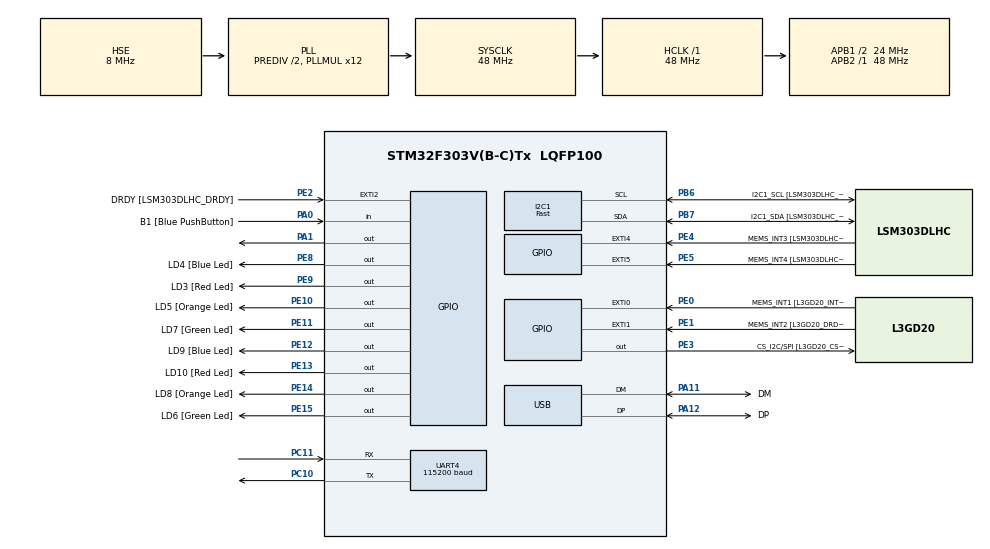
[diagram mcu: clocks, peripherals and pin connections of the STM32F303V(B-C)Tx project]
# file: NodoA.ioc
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I2C1.I2C_Speed_Mode=I2C_Fast
I2C1.Timing=0x0000020B
I2C1.Timing-I2C=0x2000090E
Mcu.Family=STM32F3
Mcu.Name=STM32F303V(B-C)Tx
Mcu.Package=LQFP100
NVIC.PriorityGroup=NVIC_PRIORITYGROUP_0
NVIC.TIM6_DAC_IRQn=true\:0\:0\:false\:false\:true\:true\:true\:true
NVIC.UART4_IRQn=true\:0\:0\:false\:false\:true\:true\:true\:true
PA0.GPIO_Label=B1 [Blue PushButton]
PA0.Signal=GPIO_Input
PA1.Signal=GPIO_Output
PA11.GPIO_Label=DM
PA11.Mode=Device
PA11.Signal=USB_DM
PA12.GPIO_Label=DP
PA12.Mode=Device
PA12.Signal=USB_DP
PA13.GPIO_Label=SWDIO
PA13.Mode=Serial_Wire
PA13.Signal=SYS_JTMS-SWDIO
PA14.GPIO_Label=SWCLK
PA14.Mode=Serial_Wire
PA14.Signal=SYS_JTCK-SWCLK
PA5.GPIO_Label=SPI1_SCK [L3GD20_SCL/SPC]
PA5.Signal=SPI1_SCK
PA6.GPIO_Label=SPI1_MISO [L3GD20_SA0/SDO]
PA6.Signal=SPI1_MISO
PA7.GPIO_Label=SPI1_MISO [L3GD20_SDA/SDI/SDO]
PA7.Signal=SPI1_MOSI
PB3.GPIO_Label=SWO
PB3.Signal=SYS_JTDO-TRACESWO
PB6.GPIO_Label=I2C1_SCL [LSM303DLHC_SCL]
PB6.GPIO_Pu=GPIO_PULLUP
PB6.Mode=I2C
PB6.Signal=I2C1_SCL
PB7.GPIO_Label=I2C1_SDA [LSM303DLHC_SDA]
PB7.GPIO_Pu=GPIO_PULLUP
PB7.Mode=I2C
PB7.Signal=I2C1_SDA
PC10.Mode=Asynchronous
PC10.Signal=UART4_TX
PC11.Mode=Asynchronous
PC11.Signal=UART4_RX
PC14-OSC32_IN.GPIO_Label=OSC32_IN
PC14-OSC32_IN.Signal=RCC_OSC32_IN
PC15-OSC32_OUT.GPIO_Label=OSC32_OUT
PC15-OSC32_OUT.Signal=RCC_OSC32_OUT
PE0.GPIO_Label=MEMS_INT1 [L3GD20_INT1]
PE0.GPIO_ModeDefaultEXTI=GPIO_MODE_EVT_RISING
PE0.Signal=GPXTI0
PE1.GPIO_Label=MEMS_INT2 [L3GD20_DRDY/INT2]
PE1.GPIO_ModeDefaultEXTI=GPIO_MODE_EVT_RISING
PE1.Signal=GPXTI1
PE10.GPIO_Label=LD5 [Orange Led]
PE10.Signal=GPIO_Output
PE11.GPIO_Label=LD7 [Green Led]
PE11.Signal=GPIO_Output
PE12.GPIO_Label=LD9 [Blue Led]
PE12.Signal=GPIO_Output
PE13.GPIO_Label=LD10 [Red Led]
PE13.Signal=GPIO_Output
PE14.GPIO_Label=LD8 [Orange Led]
PE14.Signal=GPIO_Output
PE15.GPIO_Label=LD6 [Green Led]
PE15.Signal=GPIO_Output
PE2.GPIO_Label=DRDY [LSM303DLHC_DRDY]
PE2.GPIO_ModeDefaultEXTI=GPIO_MODE_EVT_RISING
PE2.Signal=GPXTI2
PE3.GPIO_Label=CS_I2C/SPI [L3GD20_CS_I2C/SPI]
PE3.Signal=GPIO_Output
PE4.GPIO_Label=MEMS_INT3 [LSM303DLHC_INT1]
PE4.GPIO_ModeDefaultEXTI=GPIO_MODE_EVT_RISING
PE4.Signal=GPXTI4
PE5.GPIO_Label=MEMS_INT4 [LSM303DLHC_INT2]
PE5.GPIO_ModeDefaultEXTI=GPIO_MODE_EVT_RISING
PE5.Signal=GPXTI5
PE8.GPIO_Label=LD4 [Blue Led]
PE8.Signal=GPIO_Output
PE9.GPIO_Label=LD3 [Red Led]
PE9.Signal=GPIO_Output
PF0-OSC_IN.GPIO_Label=OSC_IN
PF0-OSC_IN.Mode=HSE-External-Oscillator
PF0-OSC_IN.Signal=RCC_OSC_IN
PF1-OSC_OUT.GPIO_Label=OSC_OUT
PF1-OSC_OUT.Mode=HSE-External-Oscillator
PF1-OSC_OUT.Signal=RCC_OSC_OUT
ProjectManager.HeapSize=0x200
ProjectManager.StackSize=0x400
ProjectManager.TargetToolchain=STM32CubeIDE
RCC.AHBFreq_Value=48000000
RCC.APB1CLKDivider=RCC_HCLK_DIV2
RCC.APB1Freq_Value=24000000
RCC.APB1TimFreq_Value=48000000
RCC.APB2Freq_Value=48000000
RCC.APB2TimFreq_Value=48000000
RCC.CortexFreq_Value=48000000
RCC.HCLKFreq_Value=48000000
RCC.HSE_VALUE=8000000
RCC.HSI_VALUE=8000000
RCC.LSE_VALUE=32768
RCC.PLLMUL=RCC_PLL_MUL12
RCC.RCC_PLLsource_Clock_Source_FROM_HSE=RCC_HSE_PREDIV_DIV2
RCC.SYSCLKFreq_VALUE=48000000
RCC.SYSCLKSourceVirtual=RCC_SYSCLKSOURCE_PLLCLK
RCC.USBFreq_Value=48000000
TIM6.Prescaler=48-1
UART4.BaudRate=115200
VP_TIM6_VS_ClockSourceINT.Mode=Enable_Timer
board=STM32F3DISCOVERY

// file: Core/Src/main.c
/* USER CODE BEGIN Header */
/**
  ******************************************************************************
  * @file           : main.c
  * @brief          : Main program body
  ******************************************************************************
  * @attention
  *
  * Copyright (c) 2022 STMicroelectronics.
  * All rights reserved.
  *
  * This software is licensed under terms that can be found in the LICENSE file
  * in the root directory of this software component.
  * If no LICENSE file comes with this software, it is provided AS-IS.
  *
  ******************************************************************************
  */
/* USER CODE END Header */
#include "main.h"

/* USER CODE BEGIN Includes */
#include "fonts.h"
#include "ssd1306.h"
#include "stdio.h"
/* USER CODE END Includes */

/* USER CODE BEGIN PD */
#define BUFFER_LEN 1
#define DHT11_PORT GPIOA
#define DHT11_PIN GPIO_PIN_1
/* USER CODE END PD */

 I2C_HandleTypeDef hi2c1;

TIM_HandleTypeDef htim6;

UART_HandleTypeDef huart4;

PCD_HandleTypeDef hpcd_USB_FS;

/* USER CODE BEGIN PV */

// VARIABILI UTILI PER LA RILEVAZIONE DELLA TEMPERATURA
uint8_t RHI, RHD, TCI, TCD;
uint32_t pMillis, cMillis;
float tCelsius = 0;
float tFahrenheit = 0;
uint16_t SUM, RH, TEMP;
float Temperature = 0;
float Humidity = 0;
uint8_t Presence = 0;
char strCopy[20];

// VARIABILI UTILI PER LA TRASMISSIONE UART
uint8_t RX_BUFFER[BUFFER_LEN] = {0};
uint8_t TX_BUFFER[BUFFER_LEN] = {0};
int acqua = 0;

/* USER CODE END PV */

void SystemClock_Config(void);
static void MX_GPIO_Init(void);
static void MX_I2C1_Init(void);
static void MX_USB_PCD_Init(void);
static void MX_TIM6_Init(void);
static void MX_UART4_Init(void);

/* USER CODE BEGIN 0 */
void delay (uint16_t time)
{
	/* change your code here for the delay in microseconds */
	__HAL_TIM_SET_COUNTER(&htim6, 0);
	while ((__HAL_TIM_GET_COUNTER(&htim6))<time);
}

void Set_Pin_Output (GPIO_TypeDef *GPIOx, uint16_t GPIO_Pin)
{
	GPIO_InitTypeDef GPIO_InitStruct = {0};
	GPIO_InitStruct.Pin = GPIO_Pin;
	GPIO_InitStruct.Mode = GPIO_MODE_OUTPUT_PP;
	GPIO_InitStruct.Speed = GPIO_SPEED_FREQ_LOW;
	HAL_GPIO_Init(GPIOx, &GPIO_InitStruct);
}

void Set_Pin_Input (GPIO_TypeDef *GPIOx, uint16_t GPIO_Pin)
{
	GPIO_InitTypeDef GPIO_InitStruct = {0};
	GPIO_InitStruct.Pin = GPIO_Pin;
	GPIO_InitStruct.Mode = GPIO_MODE_INPUT;
	GPIO_InitStruct.Pull = GPIO_PULLUP;
	HAL_GPIO_Init(GPIOx, &GPIO_InitStruct);
}

/*********************************** DHT11 FUNCTIONS ********************************************/

uint8_t DHT11_Start (void)
{
  uint8_t Response = 0;
  Set_Pin_Output(DHT11_PORT, DHT11_PIN);
  //Inizializzazione della temperatura (Segui il timing scheme)
  HAL_GPIO_WritePin (DHT11_PORT, DHT11_PIN, 0);   // pull the pin low
  delay(18000); //for 18ms
  HAL_GPIO_WritePin (DHT11_PORT, DHT11_PIN, 1);   // pull the pin high
  delay(20);   // wait for 20-30us
  Set_Pin_Input(DHT11_PORT, DHT11_PIN);
  delay(40);
  //presenza del sensore (Check response)
  if (!(HAL_GPIO_ReadPin (DHT11_PORT, DHT11_PIN)))
  {
    delay(80);
    if ((HAL_GPIO_ReadPin (DHT11_PORT, DHT11_PIN))) Response = 1;
    else Response = -1; //255
  }

  pMillis = HAL_GetTick();
  cMillis = HAL_GetTick();
  while ((HAL_GPIO_ReadPin (DHT11_PORT, DHT11_PIN)) && pMillis + 2 > cMillis)
  {
    cMillis = HAL_GetTick();
  }

  return Response;
}

//funzione per leggere i dati dal sensore (Segui anche qui il Timing Scheme del DHT11)
uint8_t DHT11_Read (void)
{
  uint8_t a,b;
  for (a=0;a<8;a++)
  {
    pMillis = HAL_GetTick();
    cMillis = HAL_GetTick();
    while (!(HAL_GPIO_ReadPin (DHT11_PORT, DHT11_PIN)) && pMillis + 2 > cMillis)
    {  // wait for the pin to go high
      cMillis = HAL_GetTick();
    }
    delay(40);  // wait for 40 us
    if (!(HAL_GPIO_ReadPin (DHT11_PORT, DHT11_PIN)))   // if the pin is low
      b&= ~(1<<(7-a));
    else
      b|= (1<<(7-a));
    pMillis = HAL_GetTick();
    cMillis = HAL_GetTick();
    while ((HAL_GPIO_ReadPin (DHT11_PORT, DHT11_PIN)) && pMillis + 2 > cMillis)
    {  // wait for the pin to go low
      cMillis = HAL_GetTick();
    }
  }
  return b;
}

/***************END DHT11 FUNCTIONS***********************************************/

/***********UART FUNCTIONS***************************************************/

uint8_t receive_data_UART(){
	HAL_UART_Receive_IT(&huart4, RX_BUFFER, BUFFER_LEN);
	return RX_BUFFER[0];
}

void HAL_UART_RxCpltCallback(UART_HandleTypeDef* huart)
{
	HAL_GPIO_TogglePin(GPIOE, GPIO_PIN_11);
	if(huart->Instance == huart4.Instance){
		uint8_t data = receive_data_UART();
	if (data == 1){
		acqua = 1;
	} else {
		acqua = 0;
	}
	}
}

/*******************************END UART FUNCTIONS******************/
/* USER CODE END 0 */

int main(void)
{

  /* MCU Configuration--------------------------------------------------------*/

  /* Reset of all peripherals, Initializes the Flash interface and the Systick. */
  HAL_Init();

  /* Configure the system clock */
  SystemClock_Config();

  /* Initialize all configured peripherals */
  MX_GPIO_Init();
  MX_I2C1_Init();
  MX_USB_PCD_Init();
  MX_TIM6_Init();
  MX_UART4_Init();
  /* USER CODE BEGIN 2 */
  /*******************DISPLAY INIT*****************************/
  HAL_TIM_Base_Start(&htim6);

  SSD1306_Init();
  SSD1306_DrawRectangle(15,9,95,48,1);
  SSD1306_GotoXY(49,7);
  SSD1306_Puts("AIR", &Font_11x18, 1);
  SSD1306_GotoXY (10, 30);
  SSD1306_Puts ("HUMIDIFIER", &Font_11x18, 1);
  SSD1306_UpdateScreen(); //display

  HAL_Delay(5000);

  SSD1306_Clear();

  /*******************UART INIT*****************************/
  HAL_UART_Receive_IT(&huart4, RX_BUFFER, BUFFER_LEN);
  /* USER CODE END 2 */

  /* Infinite loop */
  /* USER CODE BEGIN WHILE */
  int i=0;
  while (1)
  {

	  if(DHT11_Start())
	  {
		  RHI = DHT11_Read(); // Relative humidity integral
		  RHD = DHT11_Read(); // Relative humidity decimal
		  TCI = DHT11_Read(); // Celsius integral
		  TCD = DHT11_Read(); // Celsius decimal
		  SUM = DHT11_Read(); // Check sum
		  if (RHI + RHD + TCI + TCD == SUM)
		  {
			  // TEMPERATURA IN GRADI CELSIUS
			  tCelsius = (float)TCI + (float)(TCD/10.0);

			  // TEMPERATURA IN GRADI FAHRENHEIT
			  //tFahrenheit = tCelsius * 9/5 + 32;

			  // UMIDITA' IN PERCENTUALE
			  RH = (float)RHI + (float)(RHD/10.0);
		  }

		  if (tCelsius > 23 && (RH < 60))
		  {
			  /* ACCENDI UMIDIFICATORE
			   * Temperature > 23° --> Humidity 30%-60%
			   */
			  HAL_GPIO_WritePin(GPIOE, GPIO_PIN_8, GPIO_PIN_RESET); //BLU
			  HAL_GPIO_WritePin(GPIOE, GPIO_PIN_9, GPIO_PIN_SET); //ROSSO
			  HAL_GPIO_WritePin(GPIOE, GPIO_PIN_10, GPIO_PIN_RESET); //ARANCIONE
			  TX_BUFFER[0] = 1;
			  HAL_UART_Transmit_IT(&huart4, TX_BUFFER, sizeof(TX_BUFFER));

		  }
		  else if ((tCelsius <= 23 && tCelsius >= 18) && (RH < 55))
		  {
			  /* ACCENDI UMIDIFICATORE
			   * Temperature 18°-23° --> Humidity 30%-55%
			   */
			  HAL_GPIO_WritePin(GPIOE, GPIO_PIN_8, GPIO_PIN_SET);
			  HAL_GPIO_WritePin(GPIOE, GPIO_PIN_9, GPIO_PIN_RESET);
			  HAL_GPIO_WritePin(GPIOE, GPIO_PIN_10, GPIO_PIN_RESET);
			  TX_BUFFER[0] = 1;
			  HAL_UART_Transmit_IT(&huart4, TX_BUFFER, sizeof(TX_BUFFER));
		  }
		  else if (tCelsius < 18 && (RH < 50))
		  {
			  /* ACCENDI UMIDIFICATORE
			   * Temperature < 18° --> Humidity 30%-50%
			   */
			  HAL_GPIO_WritePin(GPIOE, GPIO_PIN_8, GPIO_PIN_RESET);
			  HAL_GPIO_WritePin(GPIOE, GPIO_PIN_9, GPIO_PIN_RESET);
			  HAL_GPIO_WritePin(GPIOE, GPIO_PIN_10, GPIO_PIN_SET);
			  TX_BUFFER[0] = 1;
			  HAL_UART_Transmit_IT(&huart4, TX_BUFFER, sizeof(TX_BUFFER));
		  }
		  else
		  {
			  HAL_GPIO_WritePin(GPIOE, GPIO_PIN_8, GPIO_PIN_RESET);
			  HAL_GPIO_WritePin(GPIOE, GPIO_PIN_9, GPIO_PIN_RESET);
			  HAL_GPIO_WritePin(GPIOE, GPIO_PIN_10, GPIO_PIN_SET);
			  TX_BUFFER[0] = 0;
			  HAL_UART_Transmit_IT(&huart4, TX_BUFFER, sizeof(TX_BUFFER));
		  }

		  if (i!=0)
		  {
			  i=0;
			  SSD1306_Clear();
		  }

		  sprintf(strCopy,"Temperature");
		  SSD1306_GotoXY (2, 0);
		  SSD1306_Puts (strCopy, &Font_7x10, 1);
		  sprintf(strCopy,"%d C   ",TCI);
		  SSD1306_GotoXY (2, 10);
		  SSD1306_Puts (strCopy, &Font_11x18, 1);
		  sprintf(strCopy,"Humidity");
		  SSD1306_GotoXY (2, 30);
		  SSD1306_Puts (strCopy, &Font_7x10, 1);
		  sprintf(strCopy,"%d. %% ", RHI);
		  SSD1306_GotoXY (2, 40);
		  SSD1306_Puts (strCopy, &Font_11x18, 1);
		  SSD1306_UpdateScreen();

		  while(acqua == 0) //Finchè l'acqua non è sufficiente, messaggio 'aggiungi acqua'
		  {
			  if(i == 0){
				  SSD1306_Clear();
			  }
			  SSD1306_GotoXY (30,5);
			  SSD1306_Puts ("ATTENZIONE", &Font_7x10, 1);
			  SSD1306_GotoXY (10,15);
			  SSD1306_Puts ("AGGIUNGI ACQUA", &Font_7x10, 1);
			  SSD1306_UpdateScreen();

			  //SPEGNI NEBULIZZATORE
			  TX_BUFFER[0] = 0;
			  HAL_UART_Transmit_IT(&huart4, TX_BUFFER, sizeof(TX_BUFFER));

			  i++;
		  }
	  }

	  HAL_Delay(2000);

    /* USER CODE END WHILE */

  }
}

void SystemClock_Config(void)
{
  RCC_OscInitTypeDef RCC_OscInitStruct = {0};
  RCC_ClkInitTypeDef RCC_ClkInitStruct = {0};
  RCC_PeriphCLKInitTypeDef PeriphClkInit = {0};

  /** Initializes the RCC Oscillators according to the specified parameters
  * in the RCC_OscInitTypeDef structure.
  */
  RCC_OscInitStruct.OscillatorType = RCC_OSCILLATORTYPE_HSI|RCC_OSCILLATORTYPE_HSE;
  RCC_OscInitStruct.HSEState = RCC_HSE_ON;
  RCC_OscInitStruct.HSEPredivValue = RCC_HSE_PREDIV_DIV2;
  RCC_OscInitStruct.HSIState = RCC_HSI_ON;
  RCC_OscInitStruct.HSICalibrationValue = RCC_HSICALIBRATION_DEFAULT;
  RCC_OscInitStruct.PLL.PLLState = RCC_PLL_ON;
  RCC_OscInitStruct.PLL.PLLSource = RCC_PLLSOURCE_HSE;
  RCC_OscInitStruct.PLL.PLLMUL = RCC_PLL_MUL12;
  if (HAL_RCC_OscConfig(&RCC_OscInitStruct) != HAL_OK)
  {
    Error_Handler();
  }

  /** Initializes the CPU, AHB and APB buses clocks
  */
  RCC_ClkInitStruct.ClockType = RCC_CLOCKTYPE_HCLK|RCC_CLOCKTYPE_SYSCLK
                              |RCC_CLOCKTYPE_PCLK1|RCC_CLOCKTYPE_PCLK2;
  RCC_ClkInitStruct.SYSCLKSource = RCC_SYSCLKSOURCE_PLLCLK;
  RCC_ClkInitStruct.AHBCLKDivider = RCC_SYSCLK_DIV1;
  RCC_ClkInitStruct.APB1CLKDivider = RCC_HCLK_DIV2;
  RCC_ClkInitStruct.APB2CLKDivider = RCC_HCLK_DIV1;

  if (HAL_RCC_ClockConfig(&RCC_ClkInitStruct, FLASH_LATENCY_1) != HAL_OK)
  {
    Error_Handler();
  }
  PeriphClkInit.PeriphClockSelection = RCC_PERIPHCLK_USB|RCC_PERIPHCLK_UART4
                              |RCC_PERIPHCLK_I2C1;
  PeriphClkInit.Uart4ClockSelection = RCC_UART4CLKSOURCE_PCLK1;
  PeriphClkInit.I2c1ClockSelection = RCC_I2C1CLKSOURCE_HSI;
  PeriphClkInit.USBClockSelection = RCC_USBCLKSOURCE_PLL;
  if (HAL_RCCEx_PeriphCLKConfig(&PeriphClkInit) != HAL_OK)
  {
    Error_Handler();
  }
}

static void MX_I2C1_Init(void)
{

  hi2c1.Instance = I2C1;
  hi2c1.Init.Timing = 0x0000020B;
  hi2c1.Init.OwnAddress1 = 0;
  hi2c1.Init.AddressingMode = I2C_ADDRESSINGMODE_7BIT;
  hi2c1.Init.DualAddressMode = I2C_DUALADDRESS_DISABLE;
  hi2c1.Init.OwnAddress2 = 0;
  hi2c1.Init.OwnAddress2Masks = I2C_OA2_NOMASK;
  hi2c1.Init.GeneralCallMode = I2C_GENERALCALL_DISABLE;
  hi2c1.Init.NoStretchMode = I2C_NOSTRETCH_DISABLE;
  if (HAL_I2C_Init(&hi2c1) != HAL_OK)
  {
    Error_Handler();
  }

  /** Configure Analogue filter
  */
  if (HAL_I2CEx_ConfigAnalogFilter(&hi2c1, I2C_ANALOGFILTER_ENABLE) != HAL_OK)
  {
    Error_Handler();
  }

  /** Configure Digital filter
  */
  if (HAL_I2CEx_ConfigDigitalFilter(&hi2c1, 0) != HAL_OK)
  {
    Error_Handler();
  }

}

static void MX_TIM6_Init(void)
{

  TIM_MasterConfigTypeDef sMasterConfig = {0};

  htim6.Instance = TIM6;
  htim6.Init.Prescaler = 48-1;
  htim6.Init.CounterMode = TIM_COUNTERMODE_UP;
  htim6.Init.Period = 65535;
  htim6.Init.AutoReloadPreload = TIM_AUTORELOAD_PRELOAD_DISABLE;
  if (HAL_TIM_Base_Init(&htim6) != HAL_OK)
  {
    Error_Handler();
  }
  sMasterConfig.MasterOutputTrigger = TIM_TRGO_RESET;
  sMasterConfig.MasterSlaveMode = TIM_MASTERSLAVEMODE_DISABLE;
  if (HAL_TIMEx_MasterConfigSynchronization(&htim6, &sMasterConfig) != HAL_OK)
  {
    Error_Handler();
  }

}

static void MX_UART4_Init(void)
{

  huart4.Instance = UART4;
  huart4.Init.BaudRate = 115200;
  huart4.Init.WordLength = UART_WORDLENGTH_8B;
  huart4.Init.StopBits = UART_STOPBITS_1;
  huart4.Init.Parity = UART_PARITY_NONE;
  huart4.Init.Mode = UART_MODE_TX_RX;
  huart4.Init.HwFlowCtl = UART_HWCONTROL_NONE;
  huart4.Init.OverSampling = UART_OVERSAMPLING_16;
  huart4.Init.OneBitSampling = UART_ONE_BIT_SAMPLE_DISABLE;
  huart4.AdvancedInit.AdvFeatureInit = UART_ADVFEATURE_NO_INIT;
  if (HAL_UART_Init(&huart4) != HAL_OK)
  {
    Error_Handler();
  }

}

static void MX_USB_PCD_Init(void)
{

  hpcd_USB_FS.Instance = USB;
  hpcd_USB_FS.Init.dev_endpoints = 8;
  hpcd_USB_FS.Init.speed = PCD_SPEED_FULL;
  hpcd_USB_FS.Init.phy_itface = PCD_PHY_EMBEDDED;
  hpcd_USB_FS.Init.low_power_enable = DISABLE;
  hpcd_USB_FS.Init.battery_charging_enable = DISABLE;
  if (HAL_PCD_Init(&hpcd_USB_FS) != HAL_OK)
  {
    Error_Handler();
  }

}

static void MX_GPIO_Init(void)
{
  GPIO_InitTypeDef GPIO_InitStruct = {0};

  /* GPIO Ports Clock Enable */
  __HAL_RCC_GPIOE_CLK_ENABLE();
  __HAL_RCC_GPIOC_CLK_ENABLE();
  __HAL_RCC_GPIOF_CLK_ENABLE();
  __HAL_RCC_GPIOA_CLK_ENABLE();
  __HAL_RCC_GPIOB_CLK_ENABLE();

  /*Configure GPIO pin Output Level */
  HAL_GPIO_WritePin(GPIOE, CS_I2C_SPI_Pin|LD4_Pin|LD3_Pin|LD5_Pin
                          |LD7_Pin|LD9_Pin|LD10_Pin|LD8_Pin
                          |LD6_Pin, GPIO_PIN_RESET);

  /*Configure GPIO pin Output Level */
  HAL_GPIO_WritePin(GPIOA, GPIO_PIN_1, GPIO_PIN_RESET);

  /*Configure GPIO pins : DRDY_Pin MEMS_INT3_Pin MEMS_INT4_Pin MEMS_INT1_Pin
                           MEMS_INT2_Pin */
  GPIO_InitStruct.Pin = DRDY_Pin|MEMS_INT3_Pin|MEMS_INT4_Pin|MEMS_INT1_Pin
                          |MEMS_INT2_Pin;
  GPIO_InitStruct.Mode = GPIO_MODE_EVT_RISING;
  GPIO_InitStruct.Pull = GPIO_NOPULL;
  HAL_GPIO_Init(GPIOE, &GPIO_InitStruct);

  /*Configure GPIO pins : CS_I2C_SPI_Pin LD4_Pin LD3_Pin LD5_Pin
                           LD7_Pin LD9_Pin LD10_Pin LD8_Pin
                           LD6_Pin */
  GPIO_InitStruct.Pin = CS_I2C_SPI_Pin|LD4_Pin|LD3_Pin|LD5_Pin
                          |LD7_Pin|LD9_Pin|LD10_Pin|LD8_Pin
                          |LD6_Pin;
  GPIO_InitStruct.Mode = GPIO_MODE_OUTPUT_PP;
  GPIO_InitStruct.Pull = GPIO_NOPULL;
  GPIO_InitStruct.Speed = GPIO_SPEED_FREQ_LOW;
  HAL_GPIO_Init(GPIOE, &GPIO_InitStruct);

  /*Configure GPIO pin : B1_Pin */
  GPIO_InitStruct.Pin = B1_Pin;
  GPIO_InitStruct.Mode = GPIO_MODE_INPUT;
  GPIO_InitStruct.Pull = GPIO_NOPULL;
  HAL_GPIO_Init(B1_GPIO_Port, &GPIO_InitStruct);

  /*Configure GPIO pin : PA1 */
  GPIO_InitStruct.Pin = GPIO_PIN_1;
  GPIO_InitStruct.Mode = GPIO_MODE_OUTPUT_PP;
  GPIO_InitStruct.Pull = GPIO_NOPULL;
  GPIO_InitStruct.Speed = GPIO_SPEED_FREQ_LOW;
  HAL_GPIO_Init(GPIOA, &GPIO_InitStruct);

  /*Configure GPIO pins : SPI1_SCK_Pin SPI1_MISO_Pin SPI1_MISOA7_Pin */
  GPIO_InitStruct.Pin = SPI1_SCK_Pin|SPI1_MISO_Pin|SPI1_MISOA7_Pin;
  GPIO_InitStruct.Mode = GPIO_MODE_AF_PP;
  GPIO_InitStruct.Pull = GPIO_NOPULL;
  GPIO_InitStruct.Speed = GPIO_SPEED_FREQ_HIGH;
  GPIO_InitStruct.Alternate = GPIO_AF5_SPI1;
  HAL_GPIO_Init(GPIOA, &GPIO_InitStruct);

}

void Error_Handler(void)
{
  __disable_irq();
  while (1)
  {
  }
}
